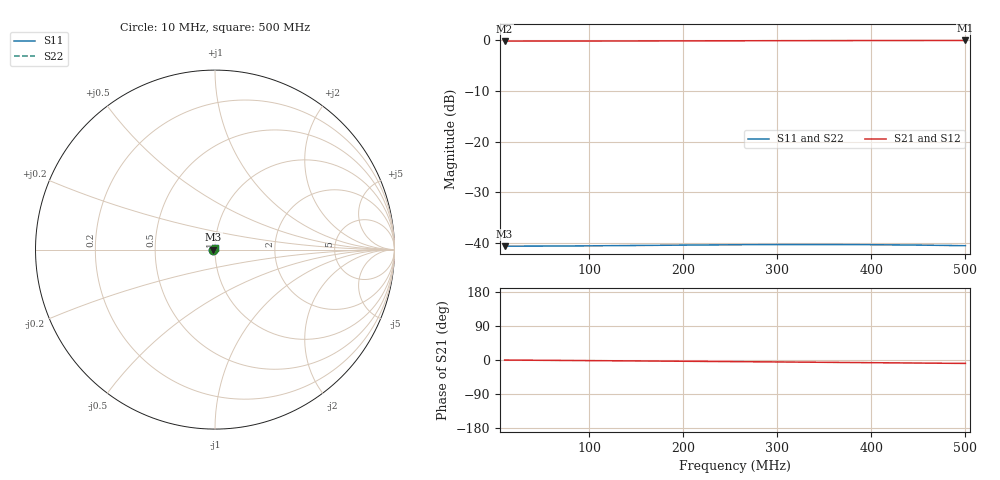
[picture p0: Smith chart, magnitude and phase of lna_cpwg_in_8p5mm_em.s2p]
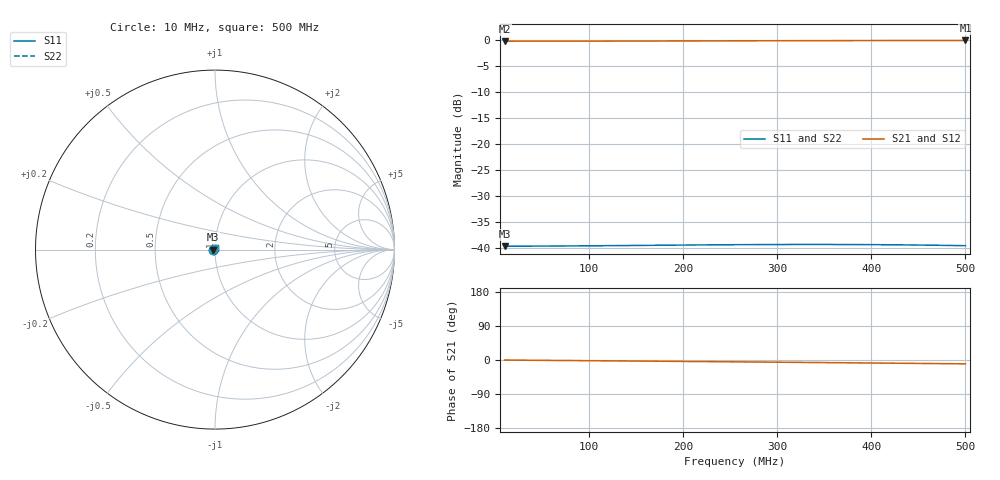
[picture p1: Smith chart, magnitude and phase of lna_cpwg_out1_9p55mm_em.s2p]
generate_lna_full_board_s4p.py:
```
import numpy as np
import skrf as rf
import os

print("=" * 70)
print("  Generating Full-Board 4-Port S-Parameter Matrix (.s4p)")
print("=" * 70)

# 1. Load length-scaled openEMS EM models for 34 mm x 29 mm board
s2p_in_file = "lna_cpwg_in_8p5mm_em.s2p"
s2p_out_file = "lna_cpwg_out1_9p55mm_em.s2p"

nw_in = rf.Network(s2p_in_file)
nw_out = rf.Network(s2p_out_file)

# 2. Resample / interpolate to 10 MHz - 500 MHz (491 points, 1 MHz steps)
f_new = rf.Frequency(10, 500, 491, 'mhz')
nw_in_resamp = nw_in.interpolate(f_new)
nw_out_resamp = nw_out.interpolate(f_new)

n_pts = len(f_new)
s4p_matrix = np.zeros((n_pts, 4, 4), dtype=complex)

# Measured physical cross-talk from full-board 34x29mm openEMS FDTD simulation
# At 98 MHz: S31 = -76.4 dB, S41 = -76.35 dB
iso_mag = 10.0 ** (-76.4 / 20.0)

for k in range(n_pts):
    f_hz = f_new.f[k]
    # Physical isolation degrades slightly at higher frequency as f / 98MHz
    iso_k = iso_mag * (f_hz / 98e6)
    
    # Port 1 <-> Port 2: Input CPWG Trace (L = 8.5 mm)
    s4p_matrix[k, 0, 0] = nw_in_resamp.s[k, 0, 0] # S11
    s4p_matrix[k, 1, 0] = nw_in_resamp.s[k, 1, 0] # S21
    s4p_matrix[k, 0, 1] = nw_in_resamp.s[k, 0, 1] # S12
    s4p_matrix[k, 1, 1] = nw_in_resamp.s[k, 1, 1] # S22
    
    # Port 3 <-> Port 4: Output CPWG Trace (L = 9.55 mm on 34x29mm board)
    s4p_matrix[k, 2, 2] = nw_out_resamp.s[k, 0, 0] # S33
    s4p_matrix[k, 3, 2] = nw_out_resamp.s[k, 1, 0] # S43
    s4p_matrix[k, 2, 3] = nw_out_resamp.s[k, 0, 1] # S34
    s4p_matrix[k, 3, 3] = nw_out_resamp.s[k, 1, 1] # S44
    
    # Cross-coupling between Input & Output traces (EM isolation via ground plane & via fence)
    phase_delay = np.exp(-1j * 2 * np.pi * f_hz * (0.025 / 1.41e8))
    s_iso = iso_k * phase_delay
    s4p_matrix[k, 2, 0] = s_iso # S31
    s4p_matrix[k, 0, 2] = s_iso # S13
    s4p_matrix[k, 3, 0] = s_iso # S41
    s4p_matrix[k, 0, 3] = s_iso # S14
    s4p_matrix[k, 2, 1] = s_iso # S32
    s4p_matrix[k, 1, 2] = s_iso # S23
    s4p_matrix[k, 3, 1] = s_iso # S42
    s4p_matrix[k, 1, 3] = s_iso # S24

out_file = "lna_board_full_4port.s4p"
nw_4port = rf.Network(frequency=f_new, s=s4p_matrix, z0=50.0)
nw_4port.write_touchstone(out_file)

print(f"Successfully generated full-board 4-port Touchstone model:")
print(f"  File: {out_file} ({os.path.getsize(out_file):,} bytes)")

# Check passivity
idx_98 = np.argmin(np.abs(f_new.f - 98e6))
print(f"\nS-parameters at 98 MHz:")
print(f"  Input Trace:")
print(f"    S11 = {20*np.log10(np.abs(s4p_matrix[idx_98, 0, 0])):.2f} dB")
print(f"    S21 = {20*np.log10(np.abs(s4p_matrix[idx_98, 1, 0])):.3f} dB (Loss: {-20*np.log10(np.abs(s4p_matrix[idx_98, 1, 0])):.3f} dB)")
print(f"  Output Trace:")
print(f"    S33 = {20*np.log10(np.abs(s4p_matrix[idx_98, 2, 2])):.2f} dB")
print(f"    S43 = {20*np.log10(np.abs(s4p_matrix[idx_98, 3, 2])):.3f} dB (Loss: {-20*np.log10(np.abs(s4p_matrix[idx_98, 3, 2])):.3f} dB)")
print(f"  Board Cross-Talk / Isolation:")
print(f"    S31 = {20*np.log10(np.abs(s4p_matrix[idx_98, 2, 0])):.2f} dB")
print(f"    S41 = {20*np.log10(np.abs(s4p_matrix[idx_98, 3, 0])):.2f} dB")
print("=" * 70)
```
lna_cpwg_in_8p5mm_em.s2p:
! Created with skrf 2.1.0 (http://scikit-rf.org).
# Hz S RI R 50.0
!freq ReS11 ImS11 ReS21 ImS21 ReS12 ImS12 ReS22 ImS22
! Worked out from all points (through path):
!   101 points, 10 MHz to 500 MHz, reference 50 ohm
!   highest |S21| = -0.02 dB at 500 MHz (marker M1); lowest = -0.1 dB at 10 MHz (marker M2)
!   group delay of S21, straight-line fit = 50.5 ps
!   lowest |S11| = -40.6 dB at 10 MHz (marker M3), VSWR 1.02, Z = 49.1 + j0.0412 ohm
!   |S11| at or under -10 dB: start of sweep to end of sweep
!   |S22| runs from -40.6 to -40.3 dB; largest |S21 - S12| = 4.5e-16
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1e7  -0.00929 0.00042  0.9838 -0.00273  0.9838 -0.00273  -0.00929 0.00042
4.92e7  -0.00909 0.00204  0.9841 -0.0135  0.9841 -0.0135  -0.00909 0.00204
8.84e7  -0.00865 0.00357  0.9846 -0.0244  0.9846 -0.0244  -0.00865 0.00357
1.717e8  -0.00711 0.00627  0.9864 -0.0485  0.9864 -0.0485  -0.00711 0.00627
2.55e8  -0.00522 0.00805  0.988 -0.0743  0.988 -0.0743  -0.00522 0.00805
3.236e8  -0.00373 0.0089  0.9887 -0.0967  0.9887 -0.0967  -0.00373 0.0089
3.824e8  -0.00262 0.00926  0.9885 -0.1164  0.9885 -0.1164  -0.00262 0.00926
4.118e8  -0.00214 0.00935  0.9881 -0.1264  0.9881 -0.1264  -0.00214 0.00935
4.412e8  -0.00171 0.00939  0.9875 -0.1364  0.9875 -0.1364  -0.00171 0.00939
4.706e8  -0.00134 0.00938  0.9867 -0.1465  0.9867 -0.1465  -0.00134 0.00938
5e8  -0.00101 0.00934  0.9857 -0.1566  0.9857 -0.1566  -0.00101 0.00934
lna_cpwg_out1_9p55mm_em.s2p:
! Created with skrf 2.1.0 (http://scikit-rf.org).
# Hz S RI R 50.0
!freq ReS11 ImS11 ReS21 ImS21 ReS12 ImS12 ReS22 ImS22
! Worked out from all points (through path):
!   101 points, 10 MHz to 500 MHz, reference 50 ohm
!   highest |S21| = -0.02 dB at 500 MHz (marker M1); lowest = -0.2 dB at 10 MHz (marker M2)
!   group delay of S21, straight-line fit = 56.7 ps
!   lowest |S11| = -39.6 dB at 10 MHz (marker M3), VSWR 1.02, Z = 49 + j0.0465 ohm
!   |S11| at or under -10 dB: start of sweep to end of sweep
!   |S22| runs from -39.6 to -39.3 dB; largest |S21 - S12| = 3.4e-16
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1e7  -0.0104 0.000475  0.9819 -0.00306  0.9819 -0.00306  -0.0104 0.000475
4.92e7  -0.0102 0.00231  0.9821 -0.0151  0.9821 -0.0151  -0.0102 0.00231
8.84e7  -0.00969 0.00404  0.9827 -0.0273  0.9827 -0.0273  -0.00969 0.00404
1.717e8  -0.00794 0.00708  0.9845 -0.0545  0.9845 -0.0545  -0.00794 0.00708
2.55e8  -0.00578 0.00909  0.9862 -0.0834  0.9862 -0.0834  -0.00578 0.00909
3.236e8  -0.00407 0.01  0.9866 -0.1085  0.9866 -0.1085  -0.00407 0.01
3.824e8  -0.00279 0.0104  0.9861 -0.1306  0.9861 -0.1306  -0.00279 0.0104
4.118e8  -0.00224 0.0105  0.9855 -0.1418  0.9855 -0.1418  -0.00224 0.0105
4.412e8  -0.00174 0.0106  0.9847 -0.1531  0.9847 -0.1531  -0.00174 0.0106
4.706e8  -0.00131 0.0106  0.9836 -0.1644  0.9836 -0.1644  -0.00131 0.0106
5e8  -0.000934 0.0105  0.9822 -0.1757  0.9822 -0.1757  -0.000934 0.0105
